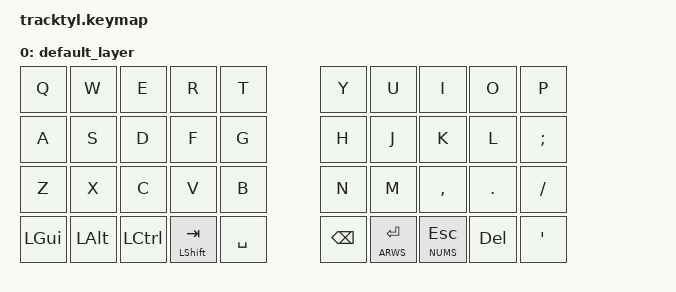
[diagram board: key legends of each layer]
#include <behaviors.dtsi>
#include <dt-bindings/zmk/keys.h>
#include <dt-bindings/zmk/bt.h>
#include <dt-bindings/zmk/outputs.h>

#define DEFAULT 0
#define ARWS 1
#define NUMS 2
#define LWR 3

/* just a little comment to trigger a build */


/ {
    keymap {
        compatible = "zmk,keymap";

    /*
     * Base Layer: L_DC_QWERTY
     *
     * ,----------------------------------.                ,----------------------------------.
     * |   Q  |   W  |   E  |   R  |   T  |                |   Y  |   U  |   I  |   O  |   P  |
     * |------+------+------+------+------|                |------+------+------+------+------|
     * |   A  |   S  |  D   |   F  |   G  |                |   H  |   J  |   K  |   L  | ;  : |
     * |------+------+------+------+------|                |------+------+------+------+------|
     * |   Z  |   X  |   C  |   V  |   B  |                |   N  |   M  | ,  < | . >  | /  ? |
     * `-------------+------+------+------+------,  ,------+------+------+------+-------------'
     *        | gui  | alt  | ctrl | tab  | space|  | bspc | enter| esc  | del  |  "   |
     *        |      |      |      | shift|      |  |      | NUMS | ARWS |      |      |
     *        `----------------------------------'  '--------------------'------'------'
     */
        default_layer {
            bindings = <
                &kp Q    &kp W    &kp E    &kp R          &kp T               &kp Y    &kp U        &kp I        &kp O   &kp P
                &kp A    &kp S    &kp D    &kp F          &kp G               &kp H    &kp J        &kp K        &kp L   &kp SEMI
                &kp Z    &kp X    &kp C    &kp V          &kp B               &kp N    &kp M        &kp COMMA    &kp DOT &kp FSLH
                &kp LGUI &kp LALT &kp LCTL &mt LSHIFT TAB &kp SPACE           &kp BSPC &lt ARWS RET &lt NUMS ESC &kp DEL &kp SQT
            >;
        };


        // lower_layer {
        //     bindings = <
        //         &kp F12 &kp F1 &kp F2 &kp F3 &kp F4 &kp F5                &kp F6 &kp F7   &kp F8   &kp F9 &kp F10   &kp F11
        //         &trans  &trans &trans &trans &trans &trans                &trans &trans   &trans   &trans &trans    &trans
        //         &trans  &trans &trans &trans &trans &trans                &trans &kp LEFT &kp DOWN &kp UP &kp RIGHT &trans
        //         &trans  &trans &trans &trans &trans &trans                &trans &trans   &trans   &trans &trans    &trans
        //                        &trans &trans                                              &trans &trans
        //                                      &trans &trans                &trans &mo ADJ
        //                                      &trans &trans                &trans &trans
        //                                      &trans &trans                &trans &trans
        //     >;
        // };

        // raise_layer {
        //     bindings = <
        //         &trans  &trans &trans &trans &trans &trans                &trans &trans &trans &trans &trans &trans
        //         &trans  &trans &trans &trans &trans &trans                &trans &trans &trans &trans &trans &kp K_VOL_UP
        //         &trans  &trans &trans &trans &trans &trans                &trans &trans &trans &trans &trans &kp K_VOL_DN
        //         &trans  &trans &trans &trans &trans &trans                &trans &trans &trans &trans &trans &kp K_MUTE
        //                        &trans &trans                                            &trans &trans
        //                                      &mo ADJ &trans               &trans &trans
        //                                      &trans  &trans               &trans &trans
        //                                      &trans  &trans               &trans &trans
        //     >;
        // };

        // adjust_layer {
        //     bindings = <
        //         &none &bt BT_SEL 0 &out OUT_BLE &none &none  &none            &none       &none  &none &none &none &none
        //         &none &bt BT_SEL 1 &out OUT_USB &none &reset &none            &none       &reset &none &none &none &none
        //         &none &bt BT_SEL 2 &none        &none &none  &none            &none       &none  &none &none &none &none
        //         &none &bt BT_SEL 3 &bt BT_CLR   &none &none  &bootloader      &bootloader &none  &none &none &none &none
        //                            &none        &none                                            &none &none
        //                                               &none &none             &none &none
        //                                               &none &none             &none &none
        //                                               &none &none             &none &none
        //     >;
        // };
    };
};
